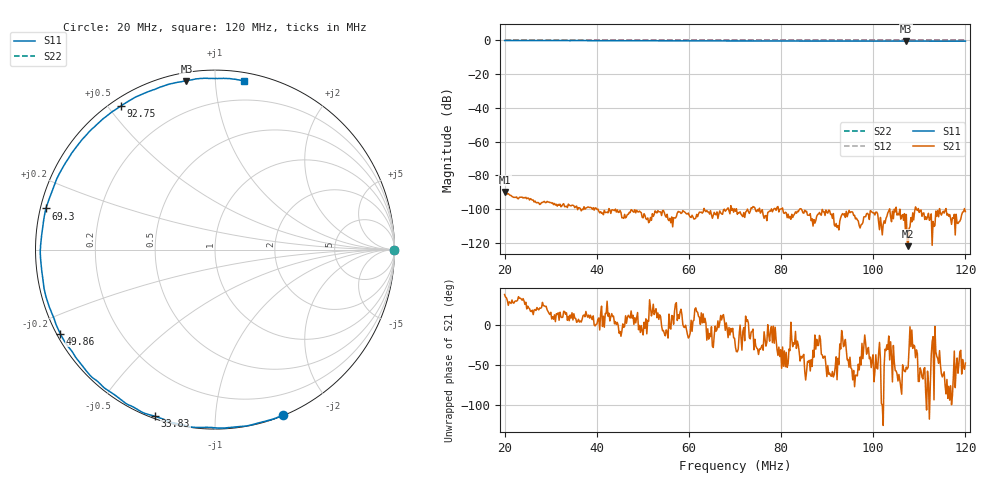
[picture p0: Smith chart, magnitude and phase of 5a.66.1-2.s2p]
! Anritsu VNA Master:  Model: MS2036C/10/77
! SN:  1601066
! /card0/usr/18may27.balun/5a..66.s2p
! Existing Calibration Information:
! TYPE:  Current Settings,  Active Cal Settings
! TIME:  05/27/2018 04:52:33 PM,  05/27/2018 04:42:15 PM
! INTERNAL TEMP:  53.3 C,  52.0 C
! # POINTS:  500,  500
! START FREQ:  20.000 MHz,  20.000 MHz
! STOP FREQ:  120.000 MHz,  120.000 MHz
! SOURCE POWER:  High,  High
! IFBW:  50 Hz,  50 Hz
! AVG FACTOR:  1 ,  1
! REF PLANE 1:  0 mm,  0 mm
! REF PLANE 2:  0 mm,  0 mm
! CAL TYPE:  Full S11,  Full S11
! CAL METHOD:  SOLT,  SOLT
! CAL LINE TYPE:  Coax,  Coax
! DUT PORT 1:  K-Conn(M),  K-Conn(M)
! DUT PORT 2:  K-Conn(M),  K-Conn(M)
! CAL STATUS:  OK: Accuracy High,  --
# GHZ S DB R 50.0
! FREQ.GHZ  S11DB  S11A  S21DB  S21A  S12DB  S12A  S22DB  S22A
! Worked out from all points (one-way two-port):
!   500 points, 20 MHz to 120 MHz, reference 50 ohm
!   highest |S21| = -89.96 dB at 20 MHz (marker M1); lowest = -122.1 dB at 107.6 MHz (marker M2)
!   lowest |S11| = -0.4 dB at 107.2 MHz (marker M3), VSWR 41.34, Z = 2.07 + j42.2 ohm
!   |S11| at or under -10 dB: nowhere
!   |S22| runs from 0.0 to 0.0 dB; largest |S21 - S12| = 1
!   S11 on the Smith chart (normalised r, x): 20 MHz: 0.01, -1.49; 33.83 MHz: 0.01, -0.70; 49.86 MHz: 0.01, -0.25; 69.3 MHz: 0.02, +0.12; 92.75 MHz: 0.03, +0.54; 120 MHz: 0.06, +1.18
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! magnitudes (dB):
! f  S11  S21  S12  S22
! 20 MHz  0.0  -90.0  0.0  0.0
! 23.61 MHz  0.0  -93.0  0.0  0.0
! 27.82 MHz  -0.1  -97.0  0.0  0.0
! 29.62 MHz  0.0  -95.9  0.0  0.0
! 33.83 MHz  -0.1  -97.1  0.0  0.0
! 35.23 MHz  -0.1  -99.2  0.0  0.0
! 36.83 MHz  -0.1  -100.2  0.0  0.0
! 39.44 MHz  -0.1  -100.7  0.0  0.0
! 43.05 MHz  -0.1  -102.6  0.0  0.0
! 47.05 MHz  -0.2  -102.0  0.0  0.0
! 49.86 MHz  -0.2  -104.9  0.0  0.0
! 53.47 MHz  -0.2  -101.7  0.0  0.0
! 65.49 MHz  -0.3  -102.0  0.0  0.0
! 69.3 MHz  -0.3  -100.8  0.0  0.0
! 70.1 MHz  -0.3  -101.4  0.0  0.0
! 86.73 MHz  -0.4  -105.8  0.0  0.0
! 92.75 MHz  -0.4  -107.2  0.0  0.0
! 103.4 MHz  -0.4  -101.2  0.0  0.0
! 107.2 MHz  -0.4  -103.2  0.0  0.0
! 107.6 MHz  -0.4  -122.1  0.0  0.0
! 109.8 MHz  -0.4  -99.7  0.0  0.0
! 120 MHz  -0.4  -101.6  0.0  0.0
